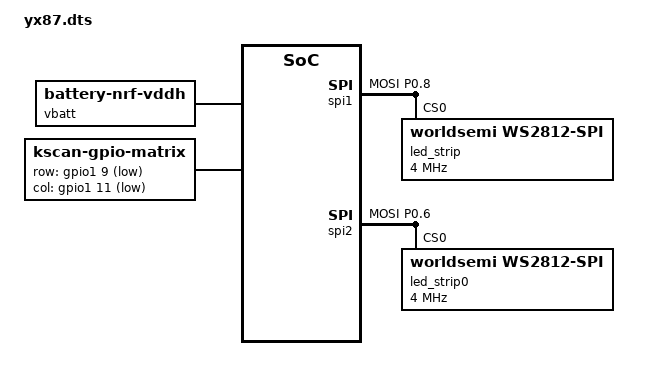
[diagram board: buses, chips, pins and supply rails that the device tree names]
/dts-v1/;
#include "nice_nano.dtsi"
#include <dt-bindings/zmk/matrix_transform.h>
#include <dt-bindings/gpio/gpio.h>
#include <dt-bindings/led/led.h>
#include <dt-bindings/pinctrl/nrf-pinctrl.h>

/ {
    chosen {
        zmk,kscan = &kscan0;
        zmk,matrix_transform = &default_transform;
        zmk,battery = &vbatt;
        zmk,underglow = &led_strip;
    };

    vbatt: vbatt {
        compatible = "zmk,battery-nrf-vddh";
    };

    default_transform: keymap_transform_0 {
        compatible = "zmk,matrix-transform";
        columns = <1>;
        rows = <1>;
        map = <RC(0,0)>;
    };

    kscan0: kscan {
        compatible = "zmk,kscan-gpio-matrix";
        label = "KSCAN";
        diode-direction = "row2col";

        row-gpios
            = <&gpio1 9 (GPIO_ACTIVE_LOW)>
            ;

        col-gpios
            = <&gpio1 11 (GPIO_ACTIVE_LOW | GPIO_PULL_UP)>
            ;
    };
};

&i2c0 {
    status = "disabled";
    pcf8574: gpio@20 {
        status = "disabled";
        compatible = "nxp,pcf8574";
        reg = <0x20>;
        gpio-controller;
        #gpio-cells = <2>;
        ngpios = <8>;
    };
};

&spi1 {
    compatible = "nordic,nrf-spim";
    status = "okay";
    pinctrl-0 = <&spi1_ws2812>;
    pinctrl-1 = <&spi1_ws2812_sleep>;
    pinctrl-names = "default", "sleep";

    led_strip: ws2812@0 {
        compatible = "worldsemi,ws2812-spi";
        reg = <0>;
        spi-max-frequency = <4000000>;
        spi-one-frame = <0x70>;
        spi-zero-frame = <0x40>;
        chain-length = <1>;
        color-mapping = <LED_COLOR_ID_GREEN LED_COLOR_ID_RED LED_COLOR_ID_BLUE>;
    };
};

/* Per-key underglow chain: 81 Kailh sockets with WS2812-style LEDs
 * (data on P0.06 / SPI2 MOSI - SPI0 shares instance 0 with TWI0),
 * separate from the T80 status LED on P0.08. */
&spi2 {
    compatible = "nordic,nrf-spim";
    status = "okay";
    pinctrl-0 = <&spi2_ws2812>;
    pinctrl-1 = <&spi2_ws2812_sleep>;
    pinctrl-names = "default", "sleep";

    led_strip0: ws2812@0 {
        compatible = "worldsemi,ws2812-spi";
        reg = <0>;
        spi-max-frequency = <4000000>;
        spi-one-frame = <0x70>;
        spi-zero-frame = <0x40>;
        chain-length = <81>;
        color-mapping = <LED_COLOR_ID_GREEN LED_COLOR_ID_RED LED_COLOR_ID_BLUE>;
    };
};

&pinctrl {
    spi1_ws2812: spi1_ws2812 {
        group1 {
            psels = <NRF_PSEL(SPIM_MOSI, 0, 8)>;
        };
    };
    spi1_ws2812_sleep: spi1_ws2812_sleep {
        group1 {
            psels = <NRF_PSEL(SPIM_MOSI, 0, 8)>;
            low-power-enable;
        };
    };
    spi2_ws2812: spi2_ws2812 {
        group1 {
            psels = <NRF_PSEL(SPIM_MOSI, 0, 6)>;
        };
    };
    spi2_ws2812_sleep: spi2_ws2812_sleep {
        group1 {
            psels = <NRF_PSEL(SPIM_MOSI, 0, 6)>;
            low-power-enable;
        };
    };
};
